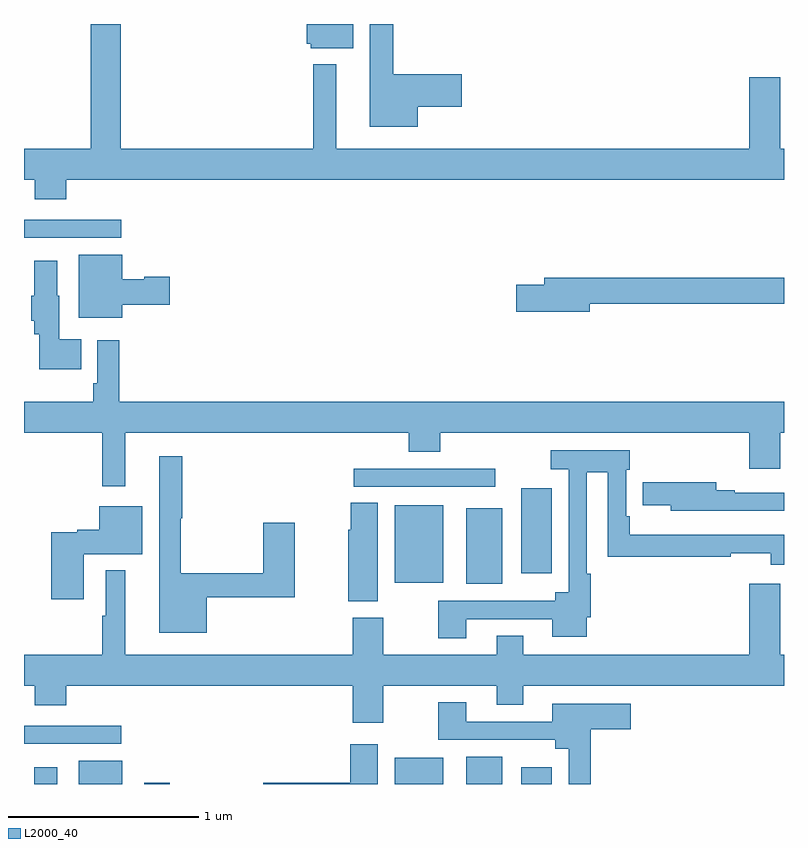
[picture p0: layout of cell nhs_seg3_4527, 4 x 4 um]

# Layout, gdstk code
import gdstk
lib = gdstk.Library(unit=1e-6, precision=1e-09)
def R(c, l, rs):  # rectangles x0, y0, x1, y1
    for r in rs: c.add(gdstk.rectangle(r[:2], r[2:], *l))
def P(c, l, *ps):  # polygons
    for p in ps: c.add(gdstk.Polygon(p, *l))
L2000_40 = (2000, 40)

nhs_seg3_4527 = lib.new_cell('nhs_seg3_4527')
R(nhs_seg3_4527, L2000_40, [(353.054,700.4,353.176,700.489), (353.288,700.4,353.518,700.522), (353.634,700.4,353.767,700.406), (354.95,700.4,355.207,700.537), (355.328,700.4,355.516,700.543), (355.616,700.4,355.777,700.489), (353,700.611,353.512,700.707), (355.328,701.453,355.516,701.851), (354.95,701.459,355.207,701.866), (355.616,701.508,355.777,701.956), (354.735,701.964,355.48,702.06), (353,703.275,353.512,703.371)])
P(nhs_seg3_4527, L2000_40, [(354.733,704.4),(354.488,704.4),(354.488,704.295),(354.51,704.295),(354.51,704.273),(354.733,704.273)],
  [(355.072,703.964),(355.303,703.964),(355.303,704.135),(354.943,704.135),(354.943,704.4),(354.821,704.4),(354.821,703.859),(355.072,703.859)],
  [(353.222,703.58),(357,703.58),(357,703.744),(356.98,703.744),(356.98,704.119),(356.816,704.119),(356.816,703.744),(354.643,703.744),(354.643,704.188),(354.522,704.188),(354.522,703.744),(353.51,703.744),(353.51,704.4),(353.35,704.4),(353.35,703.744),(353,703.744),(353,703.58),(353.057,703.58),(353.057,703.478),(353.222,703.478)],
  [(353.518,702.923),(353.767,702.923),(353.767,703.07),(353.634,703.07),(353.634,703.057),(353.518,703.057),(353.518,703.186),(353.288,703.186),(353.288,702.854),(353.518,702.854)],
  [(353.3,702.742),(353.185,702.742),(353.185,702.969),(353.176,702.969),(353.176,703.153),(353.054,703.153),(353.054,702.969),(353.039,702.969),(353.039,702.837),(353.054,702.837),(353.054,702.768),(353.081,702.768),(353.081,702.584),(353.3,702.584)],
  [(355.978,702.928),(357,702.928),(357,703.064),(355.739,703.064),(355.739,703.028),(355.59,703.028),(355.59,702.886),(355.978,702.886)],
  [(353.533,702.248),(355.025,702.248),(355.025,702.149),(355.19,702.149),(355.19,702.248),(356.816,702.248),(356.816,702.06),(356.98,702.06),(356.98,702.248),(357,702.248),(357,702.412),(353.501,702.412),(353.501,702.736),(353.385,702.736),(353.385,702.508),(353.365,702.508),(353.365,702.412),(353,702.412),(353,702.248),(353.412,702.248),(353.412,701.967),(353.533,701.967)],
  [(355.327,701.268),(355.781,701.268),(355.781,701.174),(355.963,701.174),(355.963,701.278),(355.982,701.278),(355.982,701.506),(355.962,701.506),(355.962,702.04),(356.073,702.04),(356.073,701.596),(356.72,701.596),(356.72,701.615),(356.93,701.615),(356.93,701.554),(357,701.554),(357,701.712),(356.189,701.712),(356.189,701.809),(356.169,701.809),(356.169,702.053),(356.189,702.053),(356.189,702.156),(355.773,702.156),(355.773,702.056),(355.866,702.056),(355.866,701.41),(355.796,701.41),(355.796,701.364),(355.18,701.364),(355.18,701.166),(355.327,701.166)],
  [(353.962,701.382),(354.424,701.382),(354.424,701.776),(354.259,701.776),(354.259,701.51),(353.825,701.51),(353.825,701.799),(353.833,701.799),(353.833,702.124),(353.711,702.124),(353.711,701.195),(353.962,701.195)],
  [(357,701.934),(356.74,701.934),(356.74,701.947),(356.644,701.947),(356.644,701.989),(356.256,701.989),(356.256,701.867),(356.405,701.867),(356.405,701.838),(357,701.838)],
  [(354.862,701.879),(354.721,701.879),(354.721,701.739),(354.707,701.739),(354.707,701.363),(354.862,701.363)],
  [(353.314,701.609),(353.623,701.609),(353.623,701.863),(353.396,701.863),(353.396,701.738),(353.28,701.738),(353.28,701.725),(353.144,701.725),(353.144,701.373),(353.314,701.373)],
  [(354.891,700.916),(355.487,700.916),(355.487,700.817),(355.627,700.817),(355.627,700.916),(357,700.916),(357,701.08),(356.98,701.08),(356.98,701.455),(356.816,701.455),(356.816,701.08),(355.627,701.08),(355.627,701.179),(355.487,701.179),(355.487,701.08),(354.891,701.08),(354.891,701.275),(354.731,701.275),(354.731,701.08),(353.533,701.08),(353.533,701.524),(353.429,701.524),(353.429,701.285),(353.412,701.285),(353.412,701.08),(353,701.08),(353,700.916),(353.057,700.916),(353.057,700.814),(353.222,700.814),(353.222,700.916),(354.731,700.916),(354.731,700.722),(354.891,700.722)],
  [(355.982,700.688),(356.194,700.688),(356.194,700.822),(355.781,700.822),(355.781,700.728),(355.327,700.728),(355.327,700.831),(355.18,700.831),(355.18,700.632),(355.796,700.632),(355.796,700.586),(355.866,700.586),(355.866,700.4),(355.982,700.4)],
  [(354.862,700.609),(354.716,700.609),(354.716,700.406),(354.258,700.406),(354.258,700.4),(354.862,700.4)])

lib.write_gds('nhs_seg3_4527.gds')
